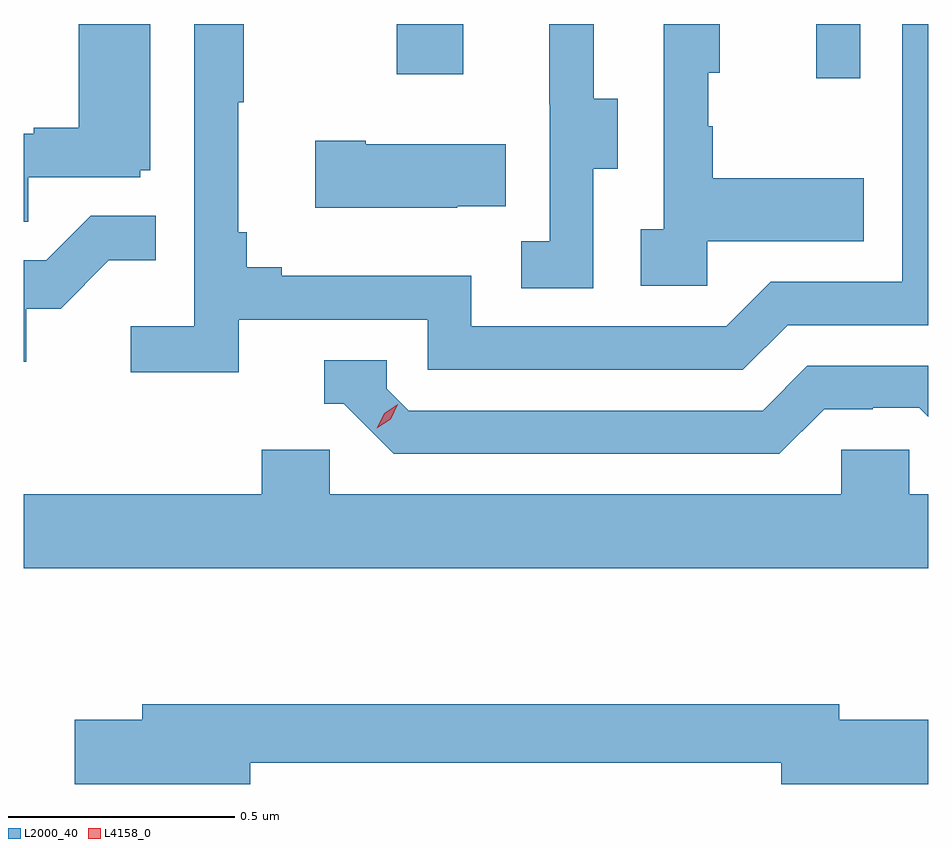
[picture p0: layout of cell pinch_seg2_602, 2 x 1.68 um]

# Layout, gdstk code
import gdstk
lib = gdstk.Library(unit=1e-6, precision=1e-09)
def R(c, l, rs):  # rectangles x0, y0, x1, y1
    for r in rs: c.add(gdstk.rectangle(r[:2], r[2:], *l))
def P(c, l, *ps):  # polygons
    for p in ps: c.add(gdstk.Polygon(p, *l))
L2000_40 = (2000, 40)
L4158_0 = (4158, 0)

pinch_seg2_602 = lib.new_cell('pinch_seg2_602')
R(pinch_seg2_602, L2000_40, [(1062.302,624.744,1062.399,624.864), (1061.374,624.753,1061.521,624.864)])
P(pinch_seg2_602, L2000_40, [(1061.808,624.544),(1061.863,624.544),(1061.863,624.699),(1061.809,624.699),(1061.809,624.864),(1061.711,624.864),(1061.711,624.687),(1061.712,624.687),(1061.712,624.383),(1061.649,624.383),(1061.649,624.28),(1061.808,624.28)],
  [(1060.559,624.525),(1060.806,624.525),(1060.806,624.54),(1060.828,624.54),(1060.828,624.864),(1060.67,624.864),(1060.67,624.634),(1060.571,624.634),(1060.571,624.621),(1060.549,624.621),(1060.549,624.427),(1060.559,624.427)],
  [(1061.024,624.21),(1061.442,624.21),(1061.442,624.099),(1062.139,624.099),(1062.238,624.198),(1062.549,624.198),(1062.549,624.864),(1062.492,624.864),(1062.492,624.294),(1062.201,624.294),(1062.102,624.195),(1061.538,624.195),(1061.538,624.307),(1061.119,624.307),(1061.119,624.326),(1061.042,624.326),(1061.042,624.403),(1061.023,624.403),(1061.023,624.691),(1061.035,624.691),(1061.035,624.864),(1060.926,624.864),(1060.926,624.196),(1060.785,624.196),(1060.785,624.094),(1061.024,624.094)],
  [(1062.06,624.383),(1062.407,624.383),(1062.407,624.523),(1062.073,624.523),(1062.073,624.638),(1062.063,624.638),(1062.063,624.756),(1062.088,624.756),(1062.088,624.864),(1061.964,624.864),(1061.964,624.41),(1061.913,624.41),(1061.913,624.285),(1062.06,624.285)],
  [(1061.507,624.461),(1061.615,624.461),(1061.615,624.598),(1061.305,624.598),(1061.305,624.606),(1061.193,624.606),(1061.193,624.458),(1061.507,624.458)],
  [(1060.554,624.234),(1060.63,624.234),(1060.737,624.341),(1060.841,624.341),(1060.841,624.44),(1060.697,624.44),(1060.599,624.342),(1060.549,624.342),(1060.549,624.117),(1060.554,624.117)],
  [(1062.319,624.012),(1062.426,624.012),(1062.426,624.015),(1062.529,624.015),(1062.549,623.995),(1062.549,624.108),(1062.282,624.108),(1062.183,624.009),(1061.4,624.009),(1061.352,624.057),(1061.352,624.12),(1061.213,624.12),(1061.213,624.024),(1061.256,624.024),(1061.367,623.913),(1062.22,623.913)],
  [(1062.549,623.824),(1062.507,623.824),(1062.507,623.922),(1062.357,623.922),(1062.357,623.824),(1061.226,623.824),(1061.226,623.922),(1061.075,623.922),(1061.075,623.824),(1060.549,623.824),(1060.549,623.66),(1062.549,623.66)],
  [(1061.05,623.23),(1062.224,623.23),(1062.224,623.183),(1062.549,623.183),(1062.549,623.325),(1062.352,623.325),(1062.352,623.359),(1060.811,623.359),(1060.811,623.325),(1060.662,623.325),(1060.662,623.183),(1061.05,623.183)])
P(pinch_seg2_602, L4158_0, [(1061.33,623.97),(1061.33,623.97),(1061.346,624.003),(1061.376,624.023),(1061.376,624.023),(1061.376,624.023),(1061.36,623.99),(1061.33,623.97)])

lib.write_gds('pinch_seg2_602.gds')
